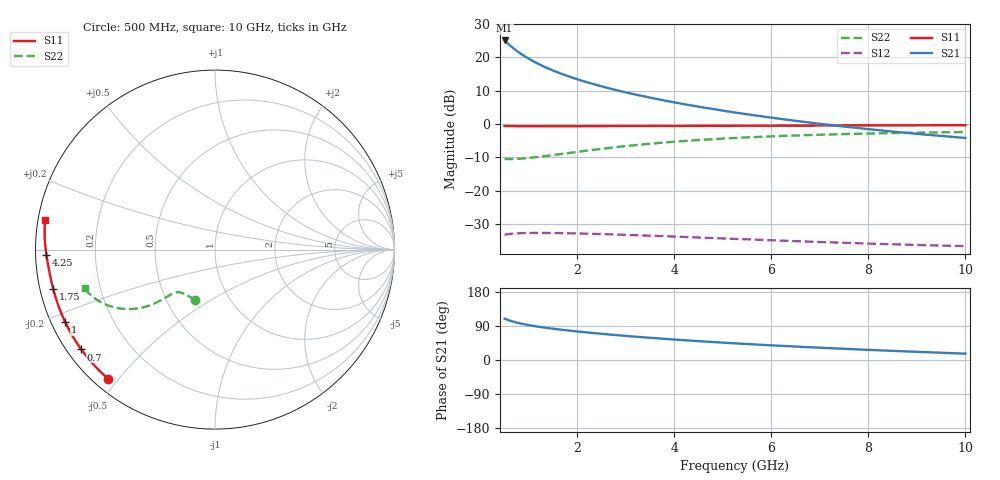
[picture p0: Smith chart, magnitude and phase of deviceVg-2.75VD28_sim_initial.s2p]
! Created with skrf 1.8.0 (http://scikit-rf.org).
# Hz S RI R 50.0
!freq ReS11 ImS11 ReS21 ImS21 ReS12 ImS12 ReS22 ImS22
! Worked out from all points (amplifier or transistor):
!   191 points, 500 MHz to 10 GHz, reference 50 ohm
!   highest |S21| = 25.1 dB at 500 MHz (marker M1)
!   |S21| within 3 dB of that: start of sweep to 739.4 MHz
!   unconditionally stable (mu >= 1): 7.596 GHz to end of sweep
!   at 2.05 GHz: K = 0.26, MSG = 23.0 dB, |S12| = -32.8 dB
!   at 5.25 GHz: K = 0.68, MSG = 19.0 dB, |S12| = -34.5 dB
!   at 10 GHz: K = 1.33, MAG = 12.8 dB, |S12| = -36.6 dB
!   S11 on the Smith chart (normalised r, x): 500 MHz: 0.04, -0.47; 700 MHz: 0.04, -0.33; 1 GHz: 0.04, -0.23; 1.75 GHz: 0.04, -0.12; 4.25 GHz: 0.03, -0.02; 10 GHz: 0.02, +0.09
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5e8  -0.598 -0.7182  -5.862 16.95  0.0206 0.00735  -0.1105 -0.2794
5.5e8  -0.6471 -0.672  -4.708 15.86  0.0212 0.00655  -0.1266 -0.2709
6e8  -0.6866 -0.6296  -3.782 14.86  0.0217 0.0058  -0.1399 -0.2635
6.5e8  -0.7186 -0.5911  -3.031 13.96  0.022 0.0051  -0.1511 -0.2573
7e8  -0.745 -0.5561  -2.415 13.13  0.0223 0.00444  -0.1605 -0.2522
7.5e8  -0.7669 -0.5243  -1.904 12.38  0.0226 0.00383  -0.1687 -0.248
8.5e8  -0.8007 -0.469  -1.119 11.08  0.0229 0.00273  -0.1823 -0.242
1e9  -0.8352 -0.4025  -0.3287 9.52  0.0232 0.00129  -0.1983 -0.2378
1.15e9  -0.858 -0.3505  0.1819 8.299  0.0233 5.7e-05  -0.2115 -0.2376
1.35e9  -0.878 -0.2965  0.6159 7.04  0.0232 -0.00136  -0.2271 -0.2414
1.55e9  -0.8914 -0.2545  0.8863 6.07  0.023 -0.00259  -0.2417 -0.2479
1.75e9  -0.9008 -0.2209  1.06 5.301  0.0227 -0.00367  -0.2562 -0.2559
2.1e9  -0.9121 -0.1752  1.231 4.277  0.0221 -0.0053  -0.2821 -0.2712
2.45e9  -0.9196 -0.1403  1.307 3.523  0.0214 -0.00668  -0.309 -0.2863
2.8e9  -0.9252 -0.1121  1.33 2.945  0.0206 -0.00784  -0.3367 -0.2997
3.2e9  -0.9301 -0.0853  1.32 2.432  0.0196 -0.00894  -0.3689 -0.3124
3.7e9  -0.9349 -0.057  1.277 1.942  0.0183 -0.01  -0.4091 -0.3236
4.25e9  -0.9391 -0.0303  1.21 1.538  0.0169 -0.011  -0.4519 -0.3302
5.25e9  -0.9445 0.0114  1.073 1.033  0.0146 -0.0121  -0.5235 -0.3289
6.85e9  -0.9489 0.0684  0.8686 0.5701  0.0114 -0.0128  -0.6159 -0.3028
8.45e9  -0.9493 0.1193  0.7086 0.3207  0.00901 -0.0129  -0.6823 -0.2616
1e10  -0.9467 0.1651  0.5924 0.1781  0.0072 -0.0128  -0.727 -0.2165
